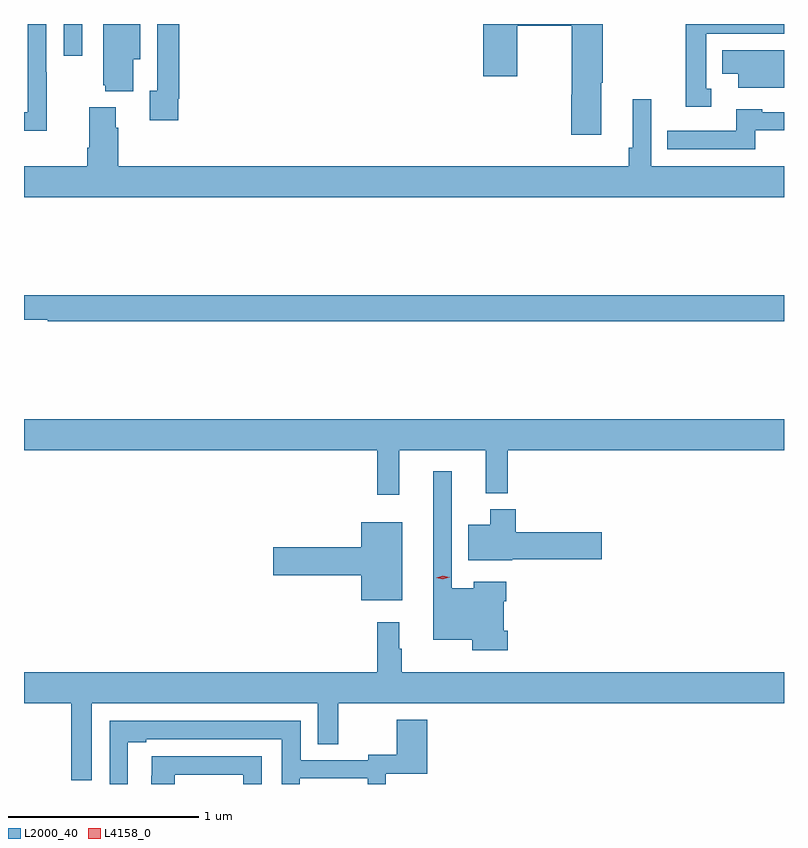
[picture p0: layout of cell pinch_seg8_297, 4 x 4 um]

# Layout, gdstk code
import gdstk
lib = gdstk.Library(unit=1e-6, precision=1e-09)
def R(c, l, rs):  # rectangles x0, y0, x1, y1
    for r in rs: c.add(gdstk.rectangle(r[:2], r[2:], *l))
def P(c, l, *ps):  # polygons
    for p in ps: c.add(gdstk.Polygon(p, *l))
L2000_40 = (2000, 40)
L4158_0 = (4158, 0)

pinch_seg8_297 = lib.new_cell('pinch_seg8_297')
R(pinch_seg8_297, L2000_40, [(537.195,1130.565,537.291,1130.732)])
P(pinch_seg8_297, L2000_40, [(537.559,1130.546),(537.598,1130.546),(537.598,1130.732),(537.401,1130.732),(537.401,1130.409),(537.413,1130.409),(537.413,1130.378),(537.559,1130.378)],
  [(537.796,1130.338),(537.803,1130.338),(537.803,1130.732),(537.687,1130.732),(537.687,1130.382),(537.647,1130.382),(537.647,1130.226),(537.796,1130.226)],
  [(540.022,1130.422),(540.03,1130.422),(540.03,1130.732),(539.402,1130.732),(539.402,1130.457),(539.58,1130.457),(539.58,1130.722),(539.869,1130.722),(539.869,1130.36),(539.864,1130.36),(539.864,1130.148),(540.022,1130.148)],
  [(540.601,1130.391),(540.576,1130.391),(540.576,1130.682),(540.985,1130.682),(540.985,1130.732),(540.467,1130.732),(540.467,1130.729),(540.468,1130.729),(540.468,1130.297),(540.601,1130.297)],
  [(537.105,1130.477),(537.102,1130.477),(537.102,1130.732),(537.006,1130.732),(537.006,1130.522),(537.005,1130.522),(537.005,1130.268),(536.985,1130.268),(536.985,1130.171),(537.105,1130.171)],
  [(540.985,1130.593),(540.661,1130.593),(540.661,1130.471),(540.743,1130.471),(540.743,1130.396),(540.985,1130.396)],
  [(540.985,1129.984),(540.285,1129.984),(540.285,1130.335),(540.188,1130.335),(540.188,1130.08),(540.169,1130.08),(540.169,1129.984),(537.482,1129.984),(537.482,1130.186),(537.469,1130.186),(537.469,1130.293),(537.329,1130.293),(537.329,1130.08),(537.317,1130.08),(537.317,1129.984),(536.985,1129.984),(536.985,1129.82),(540.985,1129.82)],
  [(540.834,1130.172),(540.985,1130.172),(540.985,1130.268),(540.87,1130.268),(540.87,1130.284),(540.734,1130.284),(540.734,1130.169),(540.37,1130.169),(540.37,1130.073),(540.834,1130.073)],
  [(540.985,1129.304),(536.985,1129.304),(536.985,1129.176),(537.11,1129.176),(537.11,1129.168),(540.985,1129.168)],
  [(538.961,1128.488),(539.414,1128.488),(539.414,1128.263),(539.531,1128.263),(539.531,1128.488),(540.985,1128.488),(540.985,1128.652),(536.985,1128.652),(536.985,1128.488),(538.843,1128.488),(538.843,1128.255),(538.961,1128.255)],
  [(539.531,1127.539),(539.509,1127.539),(539.509,1127.693),(539.522,1127.693),(539.522,1127.797),(539.351,1127.797),(539.351,1127.761),(539.235,1127.761),(539.235,1128.379),(539.138,1128.379),(539.138,1127.492),(539.344,1127.492),(539.344,1127.435),(539.531,1127.435)],
  [(539.556,1127.915),(540.025,1127.915),(540.025,1128.057),(539.573,1128.057),(539.573,1128.178),(539.438,1128.178),(539.438,1128.097),(539.324,1128.097),(539.324,1127.909),(539.556,1127.909)],
  [(538.975,1128.109),(538.76,1128.109),(538.76,1127.978),(538.296,1127.978),(538.296,1127.831),(538.76,1127.831),(538.76,1127.699),(538.975,1127.699)],
  [(537.342,1127.156),(538.53,1127.156),(538.53,1126.942),(538.639,1126.942),(538.639,1127.156),(540.985,1127.156),(540.985,1127.32),(538.972,1127.32),(538.972,1127.444),(538.96,1127.444),(538.96,1127.584),(538.843,1127.584),(538.843,1127.32),(536.985,1127.32),(536.985,1127.156),(537.234,1127.156),(537.234,1126.752),(537.342,1126.752)],
  [(537.531,1126.953),(537.628,1126.953),(537.628,1126.968),(538.341,1126.968),(538.341,1126.732),(538.437,1126.732),(538.437,1126.761),(538.794,1126.761),(538.794,1126.732),(538.89,1126.732),(538.89,1126.785),(539.108,1126.785),(539.108,1127.071),(538.948,1127.071),(538.948,1126.886),(538.797,1126.886),(538.797,1126.857),(538.441,1126.857),(538.441,1127.064),(537.435,1127.064),(537.435,1126.732),(537.531,1126.732)],
  [(537.778,1126.782),(538.14,1126.782),(538.14,1126.732),(538.236,1126.732),(538.236,1126.878),(537.76,1126.878),(537.76,1126.877),(537.657,1126.877),(537.657,1126.775),(537.656,1126.775),(537.656,1126.732),(537.778,1126.732)])
P(pinch_seg8_297, L4158_0, [(539.19,1127.809),(539.154,1127.817),(539.154,1127.817),(539.154,1127.817),(539.189,1127.829),(539.225,1127.821),(539.225,1127.821),(539.225,1127.82)])

lib.write_gds('pinch_seg8_297.gds')
